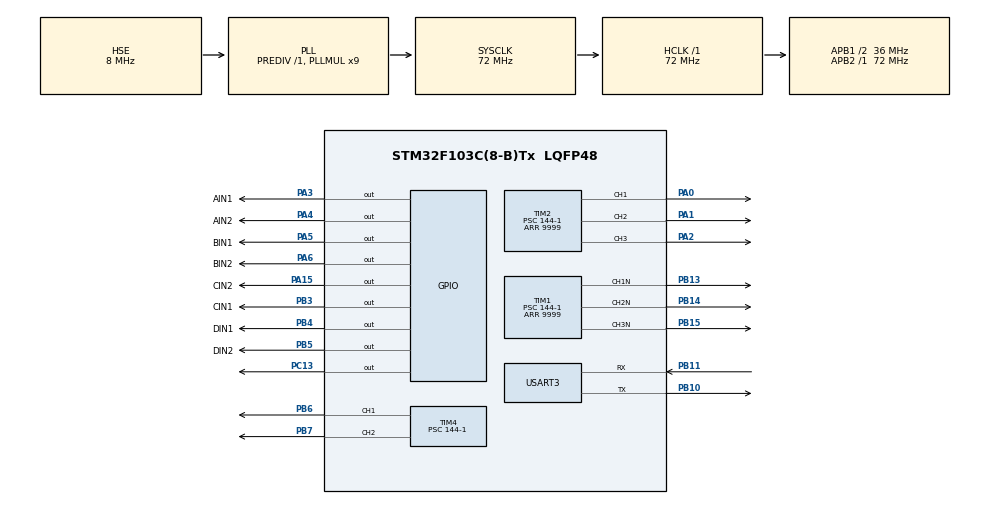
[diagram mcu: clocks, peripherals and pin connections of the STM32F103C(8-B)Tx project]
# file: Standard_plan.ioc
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Mcu.Family=STM32F1
Mcu.Name=STM32F103C(8-B)Tx
Mcu.Package=LQFP48
NVIC.PriorityGroup=NVIC_PRIORITYGROUP_4
NVIC.USART3_IRQn=true\:0\:0\:false\:false\:true\:true\:true\:true
PA0-WKUP.Signal=S_TIM2_CH1_ETR
PA1.Signal=S_TIM2_CH2
PA13.Mode=Serial_Wire
PA13.Signal=SYS_JTMS-SWDIO
PA14.Mode=Serial_Wire
PA14.Signal=SYS_JTCK-SWCLK
PA15.GPIO_Label=CIN2
PA15.Signal=GPIO_Output
PA2.Signal=S_TIM2_CH3
PA3.GPIO_Label=AIN1
PA3.Signal=GPIO_Output
PA4.GPIO_Label=AIN2
PA4.Signal=GPIO_Output
PA5.GPIO_Label=BIN1
PA5.Signal=GPIO_Output
PA6.GPIO_Label=BIN2
PA6.Signal=GPIO_Output
PB10.Mode=Asynchronous
PB10.Signal=USART3_TX
PB11.Mode=Asynchronous
PB11.Signal=USART3_RX
PB13.Mode=PWM Generation1 CH1N
PB13.Signal=TIM1_CH1N
PB14.Mode=PWM Generation2 CH2N
PB14.Signal=TIM1_CH2N
PB15.Mode=PWM Generation3 CH3N
PB15.Signal=TIM1_CH3N
PB3.GPIO_Label=CIN1
PB3.Signal=GPIO_Output
PB4.GPIO_Label=DIN1
PB4.Signal=GPIO_Output
PB5.GPIO_Label=DIN2
PB5.Signal=GPIO_Output
PB6.Signal=S_TIM4_CH1
PB7.Signal=S_TIM4_CH2
PC13-TAMPER-RTC.Signal=GPIO_Output
PD0-OSC_IN.Mode=HSE-External-Oscillator
PD0-OSC_IN.Signal=RCC_OSC_IN
PD1-OSC_OUT.Mode=HSE-External-Oscillator
PD1-OSC_OUT.Signal=RCC_OSC_OUT
ProjectManager.HeapSize=0x200
ProjectManager.StackSize=0x400
ProjectManager.TargetToolchain=MDK-ARM V5.32
RCC.AHBFreq_Value=72000000
RCC.APB1CLKDivider=RCC_HCLK_DIV2
RCC.APB1Freq_Value=36000000
RCC.APB1TimFreq_Value=72000000
RCC.APB2Freq_Value=72000000
RCC.APB2TimFreq_Value=72000000
RCC.HCLKFreq_Value=72000000
RCC.PLLMUL=RCC_PLL_MUL9
RCC.PLLSourceVirtual=RCC_PLLSOURCE_HSE
RCC.SYSCLKFreq_VALUE=72000000
RCC.SYSCLKSource=RCC_SYSCLKSOURCE_PLLCLK
RCC.USBFreq_Value=72000000
SH.S_TIM2_CH1_ETR.0=TIM2_CH1,PWM Generation1 CH1
SH.S_TIM2_CH2.0=TIM2_CH2,PWM Generation2 CH2
SH.S_TIM2_CH3.0=TIM2_CH3,PWM Generation3 CH3
SH.S_TIM4_CH1.0=TIM4_CH1,PWM Generation1 CH1
SH.S_TIM4_CH2.0=TIM4_CH2,PWM Generation2 CH2
TIM1.Channel-PWM\ Generation1\ CH1N=TIM_CHANNEL_1
TIM1.Channel-PWM\ Generation2\ CH2N=TIM_CHANNEL_2
TIM1.Channel-PWM\ Generation3\ CH3N=TIM_CHANNEL_3
TIM1.OCNPolarity_1=TIM_OCNPOLARITY_LOW
TIM1.OCNPolarity_2=TIM_OCNPOLARITY_LOW
TIM1.OCNPolarity_3=TIM_OCNPOLARITY_LOW
TIM1.Period=9999
TIM1.Prescaler=144-1
TIM2.Channel-PWM\ Generation1\ CH1=TIM_CHANNEL_1
TIM2.Channel-PWM\ Generation2\ CH2=TIM_CHANNEL_2
TIM2.Channel-PWM\ Generation3\ CH3=TIM_CHANNEL_3
TIM2.Period=9999
TIM2.Prescaler=144-1
TIM4.Channel-PWM\ Generation1\ CH1=TIM_CHANNEL_1
TIM4.Channel-PWM\ Generation2\ CH2=TIM_CHANNEL_2
TIM4.Period=9999
TIM4.Prescaler=144-1
USART3.VirtualMode=VM_ASYNC
VP_TIM1_VS_ClockSourceINT.Mode=Internal
VP_TIM2_VS_ClockSourceINT.Mode=Internal
VP_TIM4_VS_ClockSourceINT.Mode=Internal
board=custom

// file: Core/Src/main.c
/* USER CODE BEGIN Header */
/**
  ******************************************************************************
  * @file           : main.c
  * @brief          : Main program body
  ******************************************************************************
  * @attention
  *
  * Copyright (c) 2026 STMicroelectronics.
  * All rights reserved.
  *
  * This software is licensed under terms that can be found in the LICENSE file
  * in the root directory of this software component.
  * If no LICENSE file comes with this software, it is provided AS-IS.
  *
  ******************************************************************************
  */
/* USER CODE END Header */
#include "main.h"
#include "tim.h"
#include "usart.h"
#include "gpio.h"

/* USER CODE BEGIN Includes */
#include "motor.h"
/* USER CODE END Includes */

/* USER CODE BEGIN PD */
extern uint8_t state;
extern uint8_t rx_buf[1000];
extern servo Servo[4];
/* USER CODE END PD */

void SystemClock_Config(void);

int main(void)
{

  /* MCU Configuration--------------------------------------------------------*/

  /* Reset of all peripherals, Initializes the Flash interface and the Systick. */
  HAL_Init();

  /* Configure the system clock */
  SystemClock_Config();

  /* Initialize all configured peripherals */
  MX_GPIO_Init();
  MX_TIM1_Init();
  MX_TIM2_Init();
  MX_USART3_UART_Init();
  MX_TIM4_Init();

  /* Infinite loop */
  /* USER CODE BEGIN WHILE */
  while (1)
  {
		if(state==3)
		{
			switch(rx_buf[0])
			{
				case 'W':
					forward();
					break;
				case 'A':
					left();
					break;
				case 'D':
					right();
					break;
				case 'S':
					back();
					break;
				case 'Q':
					stop();
					break;
				default:
					break;

			}
			if(rx_buf[1])turn_servo(Servo,0,)
			state=0;
		}
    /* USER CODE END WHILE */

  }
}

void SystemClock_Config(void)
{
  RCC_OscInitTypeDef RCC_OscInitStruct = {0};
  RCC_ClkInitTypeDef RCC_ClkInitStruct = {0};

  /** Initializes the RCC Oscillators according to the specified parameters
  * in the RCC_OscInitTypeDef structure.
  */
  RCC_OscInitStruct.OscillatorType = RCC_OSCILLATORTYPE_HSE;
  RCC_OscInitStruct.HSEState = RCC_HSE_ON;
  RCC_OscInitStruct.HSEPredivValue = RCC_HSE_PREDIV_DIV1;
  RCC_OscInitStruct.HSIState = RCC_HSI_ON;
  RCC_OscInitStruct.PLL.PLLState = RCC_PLL_ON;
  RCC_OscInitStruct.PLL.PLLSource = RCC_PLLSOURCE_HSE;
  RCC_OscInitStruct.PLL.PLLMUL = RCC_PLL_MUL9;
  if (HAL_RCC_OscConfig(&RCC_OscInitStruct) != HAL_OK)
  {
    Error_Handler();
  }

  /** Initializes the CPU, AHB and APB buses clocks
  */
  RCC_ClkInitStruct.ClockType = RCC_CLOCKTYPE_HCLK|RCC_CLOCKTYPE_SYSCLK
                              |RCC_CLOCKTYPE_PCLK1|RCC_CLOCKTYPE_PCLK2;
  RCC_ClkInitStruct.SYSCLKSource = RCC_SYSCLKSOURCE_PLLCLK;
  RCC_ClkInitStruct.AHBCLKDivider = RCC_SYSCLK_DIV1;
  RCC_ClkInitStruct.APB1CLKDivider = RCC_HCLK_DIV2;
  RCC_ClkInitStruct.APB2CLKDivider = RCC_HCLK_DIV1;

  if (HAL_RCC_ClockConfig(&RCC_ClkInitStruct, FLASH_LATENCY_2) != HAL_OK)
  {
    Error_Handler();
  }
}

void Error_Handler(void)
{
  __disable_irq();
  while (1)
  {
  }
}
